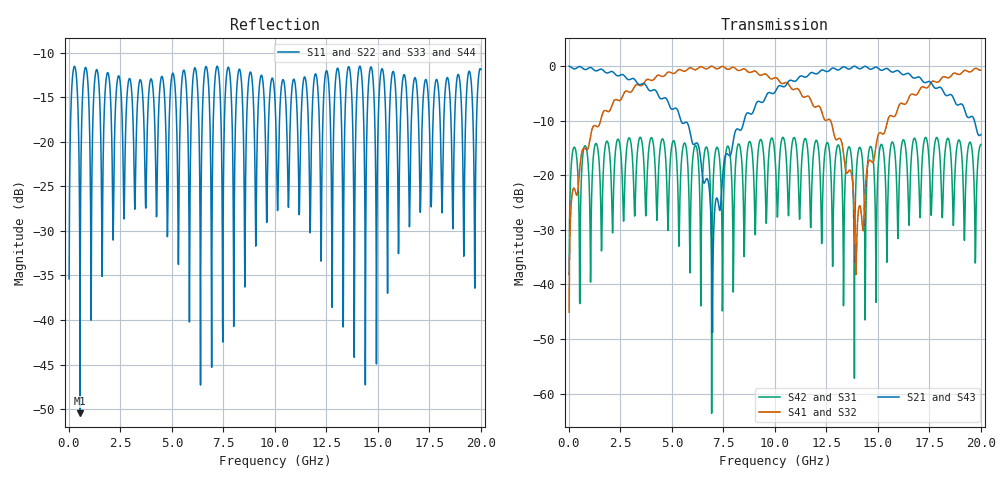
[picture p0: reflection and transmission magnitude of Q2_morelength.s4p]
! Touchstone generated by fitter/viewer
# HZ S  RI R 5.000000e+001
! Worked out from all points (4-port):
!   2000 points, 10 MHz to 20 GHz, reference 50 ohm
!   strongest paths, dB at 10 MHz, 5.01 GHz, 10.01 GHz, 15.01 GHz, 20 GHz:
!     S21: 0.0, -7.9, -4.7, -0.4, -12.6
!     S43: 0.0, -7.9, -4.7, -0.4, -12.6
!     S41: -45.1, -1.3, -2.1, -12.7, -0.7
!     S32: -45.1, -1.3, -2.1, -12.7, -0.7
!     S42: -38.2, -14.3, -16.9, -18.7, -14.4
!     S31: -38.2, -14.3, -16.9, -18.7, -14.4
!   lowest |S11| = -50.5 dB at 540 MHz (marker M1), VSWR 1.01, Z = 50.2 + j0.207 ohm
!   |S11| at or under -10 dB: start of sweep to end of sweep
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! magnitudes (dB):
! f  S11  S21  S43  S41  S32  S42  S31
! 10 MHz  -35.4  0.0  0.0  -45.1  -45.1  -38.2  -38.2
! 540 MHz  -50.5  -0.1  -0.1  -18.2  -18.2  -34.5  -34.5
! 5.24 GHz  -18.9  -7.8  -7.8  -0.9  -0.9  -17.8  -17.8
! 6.98 GHz  -21.1  -42.3  -42.3  -0.1  -0.1  -24.3  -24.3
! 8.63 GHz  -17.5  -8.7  -8.7  -0.8  -0.8  -17.0  -17.0
! 13.95 GHz  -16.4  -0.1  -0.1  -36.0  -36.0  -19.8  -19.8
! 20 GHz  -11.9  -12.6  -12.6  -0.7  -0.7  -14.4  -14.4
